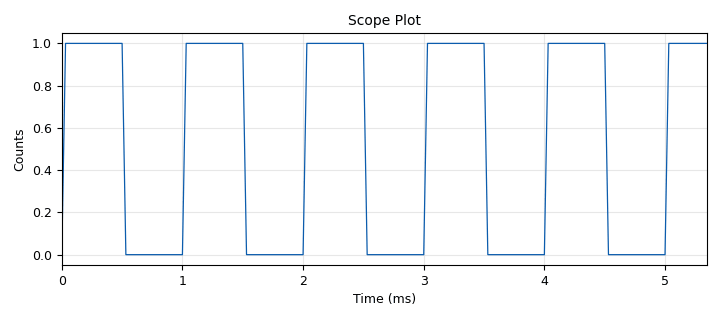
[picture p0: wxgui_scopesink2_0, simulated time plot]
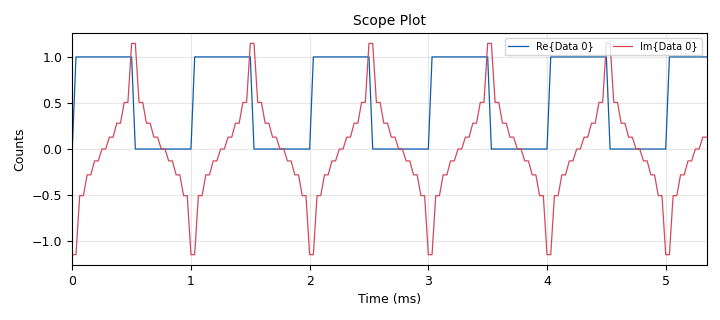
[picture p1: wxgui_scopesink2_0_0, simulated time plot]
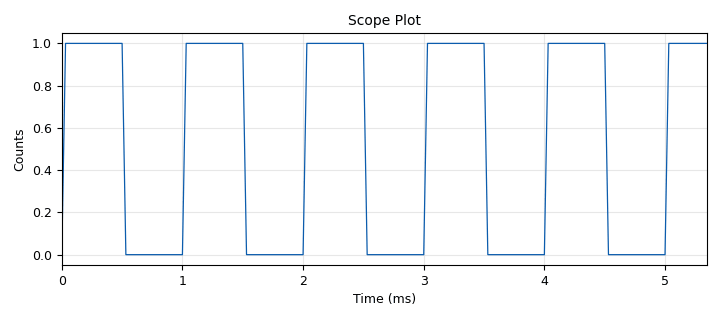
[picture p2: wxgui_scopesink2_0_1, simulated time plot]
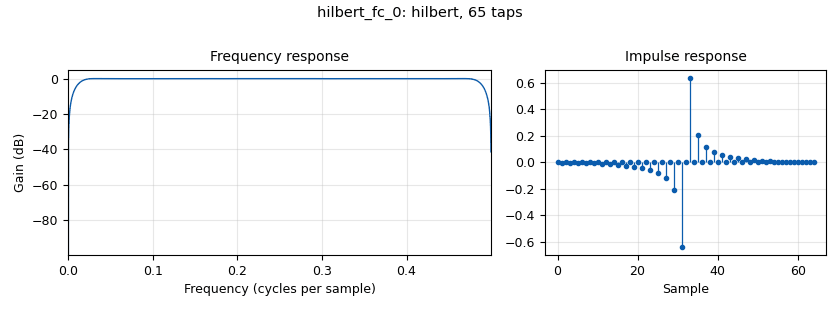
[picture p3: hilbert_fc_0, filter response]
<?xml version='1.0' encoding='utf-8'?>
<?grc format='1' created='3.7.10'?>
<flow_graph>
<block>
<key>options</key>
<param><key>id</key><value>hilbert_transformation</value></param>
<param><key>author</key><value>Alexandros-Apostolos A. Boulogeorgos</value></param>
<param><key>generate_options</key><value>wx_gui</value></param>
<param><key>title</key><value>Hilbert Transformation</value></param>
</block>
<block>
<key>variable</key>
<param><key>id</key><value>number_of_taps</value></param>
<param><key>value</key><value>64</value></param>
</block>
<block>
<key>variable</key>
<param><key>id</key><value>samp_rate</value></param>
<param><key>value</key><value>32000</value></param>
</block>
<block>
<key>analog_sig_source_x</key>
<param><key>id</key><value>analog_sig_source_x_0</value></param>
<param><key>amp</key><value>1</value></param>
<param><key>freq</key><value>1000</value></param>
<param><key>offset</key><value>0</value></param>
<param><key>type</key><value>float</value></param>
<param><key>samp_rate</key><value>samp_rate</value></param>
<param><key>waveform</key><value>analog.GR_SQR_WAVE</value></param>
</block>
<block>
<key>blocks_throttle</key>
<param><key>id</key><value>blocks_throttle_0</value></param>
<param><key>samples_per_second</key><value>samp_rate</value></param>
<param><key>type</key><value>float</value></param>
</block>
<block>
<key>hilbert_fc</key>
<param><key>id</key><value>hilbert_fc_0</value></param>
<param><key>num_taps</key><value>number_of_taps</value></param>
<param><key>win</key><value>firdes.WIN_HAMMING</value></param>
</block>
<block>
<key>wxgui_scopesink2</key>
<param><key>id</key><value>wxgui_scopesink2_0</value></param>
<param><key>ac_couple</key><value>False</value></param>
<param><key>num_inputs</key><value>1</value></param>
<param><key>samp_rate</key><value>samp_rate</value></param>
<param><key>t_scale</key><value>0</value></param>
<param><key>title</key><value>Scope Plot</value></param>
<param><key>trig_mode</key><value>wxgui.TRIG_MODE_AUTO</value></param>
<param><key>type</key><value>float</value></param>
<param><key>v_offset</key><value>0</value></param>
<param><key>v_scale</key><value>0</value></param>
<param><key>xy_mode</key><value>False</value></param>
<param><key>y_axis_label</key><value>Counts</value></param>
</block>
<block>
<key>wxgui_scopesink2</key>
<param><key>id</key><value>wxgui_scopesink2_0_0</value></param>
<param><key>ac_couple</key><value>False</value></param>
<param><key>num_inputs</key><value>1</value></param>
<param><key>samp_rate</key><value>samp_rate</value></param>
<param><key>t_scale</key><value>0</value></param>
<param><key>title</key><value>Scope Plot</value></param>
<param><key>trig_mode</key><value>wxgui.TRIG_MODE_AUTO</value></param>
<param><key>type</key><value>complex</value></param>
<param><key>v_offset</key><value>0</value></param>
<param><key>v_scale</key><value>0</value></param>
<param><key>xy_mode</key><value>False</value></param>
<param><key>y_axis_label</key><value>Counts</value></param>
</block>
<block>
<key>wxgui_scopesink2</key>
<param><key>id</key><value>wxgui_scopesink2_0_1</value></param>
<param><key>ac_couple</key><value>False</value></param>
<param><key>num_inputs</key><value>1</value></param>
<param><key>samp_rate</key><value>samp_rate</value></param>
<param><key>t_scale</key><value>0</value></param>
<param><key>title</key><value>Scope Plot</value></param>
<param><key>trig_mode</key><value>wxgui.TRIG_MODE_AUTO</value></param>
<param><key>type</key><value>float</value></param>
<param><key>v_offset</key><value>0</value></param>
<param><key>v_scale</key><value>0</value></param>
<param><key>xy_mode</key><value>False</value></param>
<param><key>y_axis_label</key><value>Counts</value></param>
</block>
<connection><source_block_id>analog_sig_source_x_0</source_block_id><sink_block_id>blocks_throttle_0</sink_block_id><source_key>0</source_key><sink_key>0</sink_key></connection>
<connection><source_block_id>analog_sig_source_x_0</source_block_id><sink_block_id>wxgui_scopesink2_0</sink_block_id><source_key>0</source_key><sink_key>0</sink_key></connection>
<connection><source_block_id>blocks_throttle_0</source_block_id><sink_block_id>hilbert_fc_0</sink_block_id><source_key>0</source_key><sink_key>0</sink_key></connection>
<connection><source_block_id>blocks_throttle_0</source_block_id><sink_block_id>wxgui_scopesink2_0_1</sink_block_id><source_key>0</source_key><sink_key>0</sink_key></connection>
<connection><source_block_id>hilbert_fc_0</source_block_id><sink_block_id>wxgui_scopesink2_0_0</sink_block_id><source_key>0</source_key><sink_key>0</sink_key></connection>
</flow_graph>
